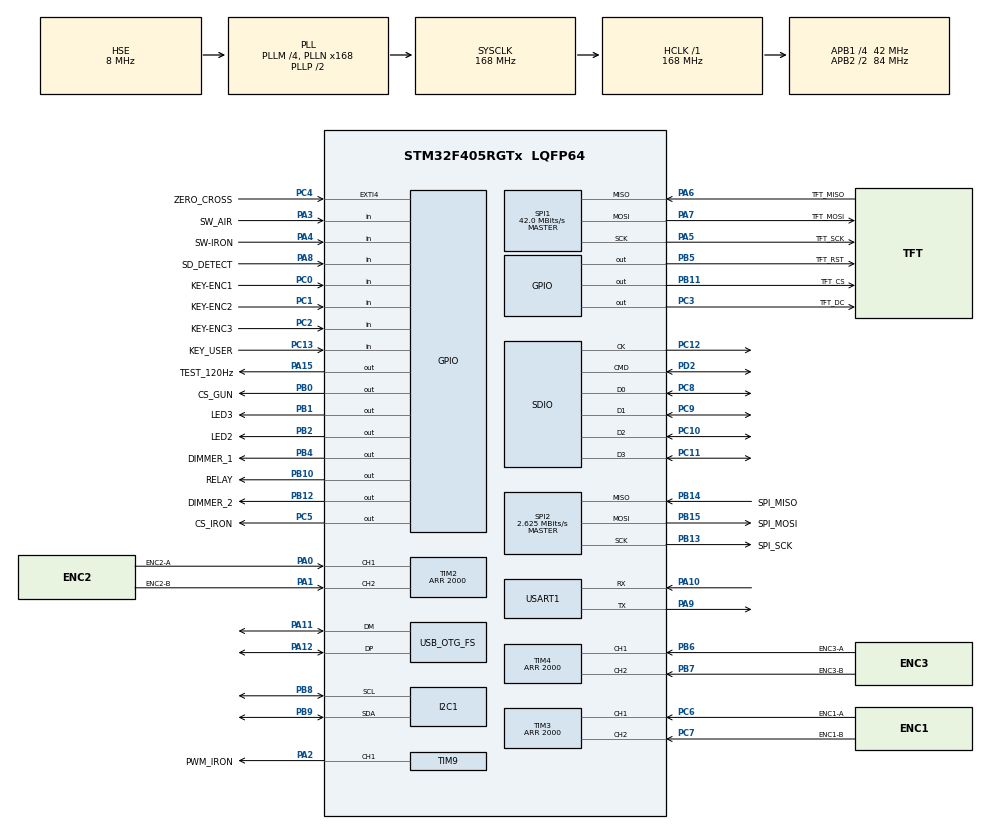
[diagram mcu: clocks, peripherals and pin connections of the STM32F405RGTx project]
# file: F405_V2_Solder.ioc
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ADC1.Channel-0\#ChannelRegularConversion=ADC_CHANNEL_TEMPSENSOR
ADC1.Channel-1\#ChannelRegularConversion=ADC_CHANNEL_VREFINT
ADC1.Channel-2\#ChannelRegularConversion=ADC_CHANNEL_VBAT
ADC1.ContinuousConvMode=ENABLE
ADC1.DMAContinuousRequests=ENABLE
ADC1.NbrOfConversion=3
ADC1.NbrOfConversionFlag=1
ADC1.Rank-0\#ChannelRegularConversion=1
ADC1.Rank-1\#ChannelRegularConversion=2
ADC1.Rank-2\#ChannelRegularConversion=3
ADC1.SamplingTime-0\#ChannelRegularConversion=ADC_SAMPLETIME_144CYCLES
ADC1.SamplingTime-1\#ChannelRegularConversion=ADC_SAMPLETIME_144CYCLES
ADC1.SamplingTime-2\#ChannelRegularConversion=ADC_SAMPLETIME_144CYCLES
ADC1.ScanConvMode=ENABLE
ADC1.master=1
Dma.ADC1.2.Direction=DMA_PERIPH_TO_MEMORY
Dma.ADC1.2.FIFOMode=DMA_FIFOMODE_DISABLE
Dma.ADC1.2.Instance=DMA2_Stream0
Dma.ADC1.2.MemDataAlignment=DMA_MDATAALIGN_HALFWORD
Dma.ADC1.2.MemInc=DMA_MINC_ENABLE
Dma.ADC1.2.Mode=DMA_CIRCULAR
Dma.ADC1.2.PeriphDataAlignment=DMA_PDATAALIGN_HALFWORD
Dma.ADC1.2.PeriphInc=DMA_PINC_DISABLE
Dma.ADC1.2.Priority=DMA_PRIORITY_MEDIUM
Dma.Request0=SPI1_TX
Dma.Request1=SDIO
Dma.Request2=ADC1
Dma.Request3=USART1_TX
Dma.SDIO.1.Direction=DMA_PERIPH_TO_MEMORY
Dma.SDIO.1.FIFOMode=DMA_FIFOMODE_ENABLE
Dma.SDIO.1.FIFOThreshold=DMA_FIFO_THRESHOLD_FULL
Dma.SDIO.1.Instance=DMA2_Stream6
Dma.SDIO.1.MemBurst=DMA_MBURST_INC4
Dma.SDIO.1.MemDataAlignment=DMA_MDATAALIGN_WORD
Dma.SDIO.1.MemInc=DMA_MINC_ENABLE
Dma.SDIO.1.Mode=DMA_PFCTRL
Dma.SDIO.1.PeriphBurst=DMA_PBURST_INC4
Dma.SDIO.1.PeriphDataAlignment=DMA_PDATAALIGN_WORD
Dma.SDIO.1.PeriphInc=DMA_PINC_DISABLE
Dma.SDIO.1.Priority=DMA_PRIORITY_LOW
Dma.SPI1_TX.0.Direction=DMA_MEMORY_TO_PERIPH
Dma.SPI1_TX.0.FIFOMode=DMA_FIFOMODE_DISABLE
Dma.SPI1_TX.0.Instance=DMA2_Stream3
Dma.SPI1_TX.0.MemDataAlignment=DMA_MDATAALIGN_BYTE
Dma.SPI1_TX.0.MemInc=DMA_MINC_ENABLE
Dma.SPI1_TX.0.Mode=DMA_NORMAL
Dma.SPI1_TX.0.PeriphDataAlignment=DMA_PDATAALIGN_BYTE
Dma.SPI1_TX.0.PeriphInc=DMA_PINC_DISABLE
Dma.SPI1_TX.0.Priority=DMA_PRIORITY_LOW
Dma.USART1_TX.3.Direction=DMA_MEMORY_TO_PERIPH
Dma.USART1_TX.3.FIFOMode=DMA_FIFOMODE_DISABLE
Dma.USART1_TX.3.Instance=DMA2_Stream7
Dma.USART1_TX.3.MemDataAlignment=DMA_MDATAALIGN_BYTE
Dma.USART1_TX.3.MemInc=DMA_MINC_ENABLE
Dma.USART1_TX.3.Mode=DMA_NORMAL
Dma.USART1_TX.3.PeriphDataAlignment=DMA_PDATAALIGN_BYTE
Dma.USART1_TX.3.PeriphInc=DMA_PINC_DISABLE
Dma.USART1_TX.3.Priority=DMA_PRIORITY_MEDIUM
FATFS.BSP.number=1
FATFS.USE_DMA_CODE_SD=1
FATFS0.BSP.STBoard=false
FATFS0.BSP.api=Unknown
FATFS0.BSP.instance=PA8
FATFS0.BSP.ip=GPIO
FATFS0.BSP.mode=Input
FATFS0.BSP.name=Detect_SDIO
FATFS0.BSP.solution=PA8
I2C1.I2C_Mode=I2C_Fast
Mcu.Family=STM32F4
Mcu.Name=STM32F405RGTx
Mcu.Package=LQFP64
NVIC.DMA2_Stream0_IRQn=true\:0\:0\:false\:false\:true\:false\:true\:true
NVIC.DMA2_Stream3_IRQn=true\:0\:0\:false\:false\:true\:false\:true\:true
NVIC.DMA2_Stream6_IRQn=true\:0\:0\:false\:false\:true\:false\:true\:true
NVIC.DMA2_Stream7_IRQn=true\:0\:0\:false\:false\:true\:false\:true\:true
NVIC.EXTI4_IRQn=true\:2\:0\:true\:false\:true\:true\:true\:true
NVIC.OTG_FS_IRQn=true\:0\:0\:false\:false\:true\:false\:true\:true
NVIC.PriorityGroup=NVIC_PRIORITYGROUP_4
NVIC.SDIO_IRQn=true\:0\:0\:false\:false\:true\:true\:true\:true
NVIC.SPI1_IRQn=true\:3\:0\:true\:false\:true\:true\:true\:true
NVIC.SPI2_IRQn=true\:0\:0\:false\:false\:true\:true\:true\:true
NVIC.TIM1_UP_TIM10_IRQn=true\:15\:0\:false\:false\:true\:false\:true\:true
NVIC.TIM5_IRQn=true\:0\:0\:false\:false\:true\:true\:true\:true
NVIC.TIM8_BRK_TIM12_IRQn=true\:0\:0\:false\:false\:true\:true\:true\:true
NVIC.TimeBase=TIM1_UP_TIM10_IRQn
NVIC.TimeBaseIP=TIM1
NVIC.USART1_IRQn=true\:1\:0\:true\:false\:true\:true\:true\:true
PA0-WKUP.GPIO_Label=ENC2-A
PA0-WKUP.Signal=S_TIM2_CH1_ETR
PA1.GPIO_Label=ENC2-B
PA1.Signal=S_TIM2_CH2
PA10.Mode=Asynchronous
PA10.Signal=USART1_RX
PA11.Mode=Device_Only
PA11.Signal=USB_OTG_FS_DM
PA12.Mode=Device_Only
PA12.Signal=USB_OTG_FS_DP
PA13.Mode=Trace_Asynchronous_SW
PA13.Signal=SYS_JTMS-SWDIO
PA14.Mode=Trace_Asynchronous_SW
PA14.Signal=SYS_JTCK-SWCLK
PA15.GPIO_Label=TEST_120Hz
PA15.Signal=GPIO_Output
PA2.GPIO_Label=PWM_IRON
PA2.Signal=S_TIM9_CH1
PA3.GPIO_Label=SW_AIR
PA3.Signal=GPIO_Input
PA4.GPIO_Label=SW-IRON
PA4.Signal=GPIO_Input
PA5.GPIO_Label=TFT_SCK
PA5.Mode=Full_Duplex_Master
PA5.Signal=SPI1_SCK
PA6.GPIO_Label=TFT_MISO
PA6.Mode=Full_Duplex_Master
PA6.Signal=SPI1_MISO
PA7.GPIO_Label=TFT_MOSI
PA7.Mode=Full_Duplex_Master
PA7.Signal=SPI1_MOSI
PA8.GPIO_Label=SD_DETECT
PA8.GPIO_PuPd=GPIO_PULLUP
PA8.Signal=GPIO_Input
PA9.Mode=Asynchronous
PA9.Signal=USART1_TX
PB0.GPIO_Label=CS_GUN
PB0.PinState=GPIO_PIN_SET
PB0.Signal=GPIO_Output
PB1.GPIO_Label=LED3
PB1.Signal=GPIO_Output
PB10.GPIO_Label=RELAY
PB10.PinState=GPIO_PIN_SET
PB10.Signal=GPIO_Output
PB11.GPIO_Label=TFT_CS
PB11.PinState=GPIO_PIN_SET
PB11.Signal=GPIO_Output
PB12.GPIO_Label=DIMMER_2
PB12.PinState=GPIO_PIN_SET
PB12.Signal=GPIO_Output
PB13.GPIO_Label=SPI_SCK
PB13.Mode=Full_Duplex_Master
PB13.Signal=SPI2_SCK
PB14.GPIO_Label=SPI_MISO
PB14.Mode=Full_Duplex_Master
PB14.Signal=SPI2_MISO
PB15.GPIO_Label=SPI_MOSI
PB15.Mode=Full_Duplex_Master
PB15.Signal=SPI2_MOSI
PB2.GPIO_Label=LED2
PB2.Signal=GPIO_Output
PB3.Mode=Trace_Asynchronous_SW
PB3.Signal=SYS_JTDO-SWO
PB4.GPIO_Label=DIMMER_1
PB4.PinState=GPIO_PIN_SET
PB4.Signal=GPIO_Output
PB5.GPIO_Label=TFT_RST
PB5.PinState=GPIO_PIN_SET
PB5.Signal=GPIO_Output
PB6.GPIO_Label=ENC3-A
PB6.Signal=S_TIM4_CH1
PB7.GPIO_Label=ENC3-B
PB7.Signal=S_TIM4_CH2
PB8.Mode=I2C
PB8.Signal=I2C1_SCL
PB9.Mode=I2C
PB9.Signal=I2C1_SDA
PC0.GPIO_Label=KEY-ENC1
PC0.Signal=GPIO_Input
PC1.GPIO_Label=KEY-ENC2
PC1.Signal=GPIO_Input
PC10.Mode=SD_4_bits_Wide_bus
PC10.Signal=SDIO_D2
PC11.Mode=SD_4_bits_Wide_bus
PC11.Signal=SDIO_D3
PC12.Mode=SD_4_bits_Wide_bus
PC12.Signal=SDIO_CK
PC13-ANTI_TAMP.GPIO_Label=KEY_USER
PC13-ANTI_TAMP.GPIO_PuPd=GPIO_PULLDOWN
PC13-ANTI_TAMP.Signal=GPIO_Input
PC14-OSC32_IN.Mode=LSE-External-Oscillator
PC14-OSC32_IN.Signal=RCC_OSC32_IN
PC15-OSC32_OUT.Mode=LSE-External-Oscillator
PC15-OSC32_OUT.Signal=RCC_OSC32_OUT
PC2.GPIO_Label=KEY-ENC3
PC2.Signal=GPIO_Input
PC3.GPIO_Label=TFT_DC
PC3.PinState=GPIO_PIN_SET
PC3.Signal=GPIO_Output
PC4.GPIO_Label=ZERO_CROSS
PC4.Signal=GPXTI4
PC5.GPIO_Label=CS_IRON
PC5.PinState=GPIO_PIN_SET
PC5.Signal=GPIO_Output
PC6.GPIO_Label=ENC1-A
PC6.Signal=S_TIM3_CH1
PC7.GPIO_Label=ENC1-B
PC7.Signal=S_TIM3_CH2
PC8.Mode=SD_4_bits_Wide_bus
PC8.Signal=SDIO_D0
PC9.Mode=SD_4_bits_Wide_bus
PC9.Signal=SDIO_D1
PD2.Mode=SD_4_bits_Wide_bus
PD2.Signal=SDIO_CMD
PH0-OSC_IN.Mode=HSE-External-Oscillator
PH0-OSC_IN.Signal=RCC_OSC_IN
PH1-OSC_OUT.Mode=HSE-External-Oscillator
PH1-OSC_OUT.Signal=RCC_OSC_OUT
ProjectManager.HeapSize=0x200
ProjectManager.StackSize=0x400
ProjectManager.TargetToolchain=STM32CubeIDE
RCC.48MHZClocksFreq_Value=48000000
RCC.AHBFreq_Value=168000000
RCC.APB1CLKDivider=RCC_HCLK_DIV4
RCC.APB1Freq_Value=42000000
RCC.APB1TimFreq_Value=84000000
RCC.APB2CLKDivider=RCC_HCLK_DIV2
RCC.APB2Freq_Value=84000000
RCC.APB2TimFreq_Value=168000000
RCC.CortexFreq_Value=168000000
RCC.EnbaleCSS=true
RCC.HCLKFreq_Value=168000000
RCC.HSE_VALUE=8000000
RCC.HSI_VALUE=16000000
RCC.PLLM=4
RCC.PLLN=168
RCC.PLLQ=7
RCC.RCC_RTC_Clock_Source=RCC_RTCCLKSOURCE_LSE
RCC.RCC_RTC_Clock_SourceVirtual=RCC_RTCCLKSOURCE_LSE
RCC.SYSCLKFreq_VALUE=168000000
RCC.SYSCLKSource=RCC_SYSCLKSOURCE_PLLCLK
RCC.VCOOutputFreq_Value=336000000
RTC.Format=RTC_FORMAT_BIN
RTC.Month=RTC_MONTH_NOVEMBER
SH.S_TIM2_CH1_ETR.0=TIM2_CH1,Encoder_Interface
SH.S_TIM2_CH2.0=TIM2_CH2,Encoder_Interface
SH.S_TIM3_CH1.0=TIM3_CH1,Encoder_Interface
SH.S_TIM3_CH2.0=TIM3_CH2,Encoder_Interface
SH.S_TIM4_CH1.0=TIM4_CH1,Encoder_Interface
SH.S_TIM4_CH2.0=TIM4_CH2,Encoder_Interface
SH.S_TIM9_CH1.0=TIM9_CH1,PWM Generation1 CH1
SPI1.BaudRatePrescaler=SPI_BAUDRATEPRESCALER_2
SPI1.CalculateBaudRate=42.0 MBits/s
SPI1.Direction=SPI_DIRECTION_2LINES
SPI1.Mode=SPI_MODE_MASTER
SPI1.VirtualType=VM_MASTER
SPI2.BaudRatePrescaler=SPI_BAUDRATEPRESCALER_16
SPI2.CalculateBaudRate=2.625 MBits/s
SPI2.Direction=SPI_DIRECTION_2LINES
SPI2.Mode=SPI_MODE_MASTER
SPI2.VirtualType=VM_MASTER
STMicroelectronics.X-CUBE-EEPRMA1.4.2.0.EEPROMCcBoardOoPartJjM24JjM24XX=true
TIM12.Period=1000-1
TIM12.Prescaler=700-1
TIM2.EncoderMode=TIM_ENCODERMODE_TI12
TIM2.IC1Filter=8
TIM2.IC1Polarity=TIM_ICPOLARITY_FALLING
TIM2.IC1Prescaler=TIM_ICPSC_DIV2
TIM2.IC2Filter=8
TIM2.IC2Polarity=TIM_ICPOLARITY_FALLING
TIM2.IC2Prescaler=TIM_ICPSC_DIV2
TIM2.Period=2000
TIM3.AutoReloadPreload=TIM_AUTORELOAD_PRELOAD_DISABLE
TIM3.EncoderMode=TIM_ENCODERMODE_TI12
TIM3.IC1Filter=8
TIM3.IC1Polarity=TIM_ICPOLARITY_FALLING
TIM3.IC1Prescaler=TIM_ICPSC_DIV2
TIM3.IC2Filter=8
TIM3.IC2Polarity=TIM_ICPOLARITY_FALLING
TIM3.IC2Prescaler=TIM_ICPSC_DIV2
TIM3.Period=2000
TIM4.EncoderMode=TIM_ENCODERMODE_TI12
TIM4.IC1Filter=8
TIM4.IC1Polarity=TIM_ICPOLARITY_FALLING
TIM4.IC1Prescaler=TIM_ICPSC_DIV2
TIM4.IC2Filter=8
TIM4.IC2Polarity=TIM_ICPOLARITY_FALLING
TIM4.IC2Prescaler=TIM_ICPSC_DIV2
TIM4.Period=2000
TIM5.Period=100-1
TIM5.Prescaler=70-1
TIM9.Channel-PWM\ Generation1\ CH1=TIM_CHANNEL_1
TIM9.OCPolarity_1=TIM_OCPOLARITY_LOW
TIM9.Period=4095
TIM9.Prescaler=16
USART1.VirtualMode=VM_ASYNC
USB_DEVICE.CLASS_NAME_FS=CDC
USB_DEVICE.VirtualMode-CDC_FS=Cdc
USB_DEVICE.VirtualModeFS=Cdc_FS
USB_OTG_FS.VirtualMode=Device_Only
VP_ADC1_TempSens_Input.Mode=IN-TempSens
VP_ADC1_Vbat_Input.Mode=IN-Vbat
VP_ADC1_Vref_Input.Mode=IN-Vrefint
VP_CRC_VS_CRC.Mode=CRC_Activate
VP_FATFS_VS_SDIO.Mode=SDIO
VP_RNG_VS_RNG.Mode=RNG_Activate
VP_RTC_VS_RTC_Activate.Mode=RTC_Enabled
VP_RTC_VS_RTC_Calendar.Mode=RTC_Calendar
VP_STMicroelectronics.X-CUBE-EEPRMA1_VS_BoardOoPartJjEEPROM_4.2.0_4.2.0.Mode=BoardOoPartJjEEPROM
VP_SYS_VS_tim1.Mode=TIM1
VP_TIM12_VS_ClockSourceINT.Mode=Internal
VP_TIM5_VS_ClockSourceINT.Mode=Internal
VP_TIM9_VS_ClockSourceINT.Mode=Internal
VP_USB_DEVICE_VS_USB_DEVICE_CDC_FS.Mode=CDC_FS
board=custom

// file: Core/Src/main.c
/* USER CODE BEGIN Header */
/**
  ******************************************************************************
  * @file           : main.c
  * @brief          : Main program body
  ******************************************************************************
  * @attention
  *
  * Copyright (c) 2023 STMicroelectronics.
  * All rights reserved.
  *
  * This software is licensed under terms that can be found in the LICENSE file
  * in the root directory of this software component.
  * If no LICENSE file comes with this software, it is provided AS-IS.
  *
  ******************************************************************************
  */
/* USER CODE END Header */
#include "main.h"
#include "adc.h"
#include "crc.h"
#include "dma.h"
#include "fatfs.h"
#include "i2c.h"
#include "rng.h"
#include "rtc.h"
#include "sdio.h"
#include "spi.h"
#include "tim.h"
#include "usart.h"
#include "usb_device.h"
#include "gpio.h"

/* USER CODE BEGIN Includes */
#include "string.h"
#include "stdio.h"
#include "../App/key.h"
#include "../App/ILI9341.h"
#include "../App/AT24Cxx.h"
#include "../App/MAX31856.h"
#include "../App/Encoder.h"
#include "../App/log_usb.h"
#include "../lvgl/lvgl.h"
#include "../App/screen.h"
/* USER CODE END Includes */

/* USER CODE BEGIN PTD */
void calculate_calibration(void);
void filter_adc(void);
void Zero_Crossing_Int(void);
/* USER CODE END PTD */

/* USER CODE BEGIN PM */
extern char string_log[];
extern uint16_t EepromID, prg_rev;
/* USER CODE END PM */

/* USER CODE BEGIN PV */
encoder rot1;
encoder rot2;
encoder rot3;
RTC_TimeTypeDef RTC_Time = {0};
RTC_DateTypeDef RTC_Date = {0};

volatile uint8_t uart1_tx_complete = 0;
uint32_t debug_cnt = 0;

volatile uint8_t rx_uart1[512] = { 0 };
uint32_t tx_uart_isr = 0;

GPIO_PinState pin_sw_air;
uint8_t sw_air_low = 0;
uint8_t sw_air_high = 0;
volatile uint8_t sw_air = 0;

GPIO_PinState pin_sw_iron;
uint8_t sw_iron_low = 0;
uint8_t sw_iron_high = 0;
volatile uint8_t sw_iron = 0;

uint16_t adcBuffer[4]; 					// Buffer ADC conversion
uint16_t filter_adc_1[8] = { 0 };
uint16_t filter_adc_2[8] = { 0 };
uint16_t filter_adc_3[8] = { 0 };
uint16_t ADC_temp = 0, ADC_vref = 0, ADC_vbat = 0;
uint16_t pwm_iron = 0;
uint16_t idx_flt = 0;
uint16_t flt_flag = 0;
uint32_t timer_key = 0, timer_lvgl = 0, timer_rtc = 0;
uint32_t timer_lcd = 0, timer_debug = 0, timer_therm = 0;

float temp_iron = 0.0f;
float temp_gun  = 0.0f;
float target_iron, target_air;
uint32_t target_speed = 0;

volatile uint32_t enc1_cnt=0, enc1_last=0, enc1_dir=0, enc1_btn=0;
volatile uint32_t enc2_cnt=0, enc2_last=0, enc2_dir=0, enc2_btn=0;
volatile uint32_t enc3_cnt=0, enc3_last=0, enc3_dir=0, enc3_btn=0;
volatile uint32_t enc1_val=0, enc2_val=0, enc3_val=0;

volatile int NumHandled  = 0;
volatile bool zero_cross = 0;
int NumActiveChannels = NUM_DIMMERS;
volatile bool isHandled[NUM_DIMMERS] = { 0, 0 };
uint32_t dimmer_value[NUM_DIMMERS]   = { 0, 0 };
uint32_t dimmer_Counter[NUM_DIMMERS] = { 0, 0 };
uint32_t dimmer_out[NUM_DIMMERS]     = { 0, 0 };
uint32_t timer_cnt5 = 0;
uint32_t timer_cnt5_max = 0;

float vdda = 0.0f; 		// Result of VDDA calculation
float vref = 0.0f; 		// Result of VREF calculation
float vbat = 0.0f;		// Result of VBAT calculation
float temp_stm, ta, tb; // transfer function using calibration data

static lv_disp_draw_buf_t draw_buf;
static lv_color_t buf1[(ILI9341_SCREEN_WIDTH * 20)] __attribute__((section(".ramtft")));	// Declare a buffer for 1/10 screen size
static lv_color_t buf2[(ILI9341_SCREEN_WIDTH * 20)] __attribute__((section(".ramtft")));
static lv_disp_drv_t disp_drv;        					// Descriptor of a display driver

max31856_t therm_iron = {&hspi2, {CS_IRON_GPIO_Port, CS_IRON_Pin}};
max31856_t therm_gun  = {&hspi2, {CS_GUN_GPIO_Port, CS_GUN_Pin}};
/* USER CODE END PV */

void SystemClock_Config(void);

int main(void)
{

  /* MCU Configuration--------------------------------------------------------*/

  /* Reset of all peripherals, Initializes the Flash interface and the Systick. */
  HAL_Init();

  /* Configure the system clock */
  SystemClock_Config();

  /* Initialize all configured peripherals */
  MX_GPIO_Init();
  MX_DMA_Init();
  MX_I2C1_Init();
  MX_RTC_Init();
  MX_SDIO_SD_Init();
  MX_SPI1_Init();
  MX_SPI2_Init();
  MX_TIM2_Init();
  MX_TIM3_Init();
  MX_TIM4_Init();
  MX_TIM5_Init();
  MX_TIM9_Init();
  MX_USART1_UART_Init();
  MX_ADC1_Init();
  MX_TIM12_Init();
  MX_FATFS_Init();
  MX_CRC_Init();
  MX_RNG_Init();
  MX_USB_DEVICE_Init();
  /* USER CODE BEGIN 2 */
  timer_cnt5 = 0;
  HAL_TIM_Base_Start_IT(&htim5);
  HAL_TIM_Base_Start_IT(&htim12);
  HAL_TIM_Encoder_Start(&htim2, TIM_CHANNEL_ALL);
  HAL_TIM_Encoder_Start(&htim3, TIM_CHANNEL_ALL);
  HAL_TIM_Encoder_Start(&htim4, TIM_CHANNEL_ALL);

  // PWM
  pwm_iron = 80;
  HAL_TIM_PWM_Start(&htim9, TIM_CHANNEL_1);
  __HAL_TIM_SetCompare(&htim9, TIM_CHANNEL_1, pwm_iron);	// PWM_CH1 = 4095 IRON

  // Start ADC
  idx_flt = 0;
  flt_flag = 0;
  calculate_calibration();
  HAL_ADC_Start_DMA(&hadc1, (uint32_t*)adcBuffer, 3);		// Start ADC in DMA

  HAL_UART_Receive_IT(&huart1, (uint8_t *)rx_uart1, 1);

  // Apaga LEDS
  // LED-1 - PWM GUN
  // LED-2 - REPOUSO
  // LED-3 - OPERATE
  // LED-4 - PWM IRON
  HAL_GPIO_WritePin(DIMMER_1_GPIO_Port, DIMMER_1_Pin, GPIO_PIN_SET);
  HAL_GPIO_WritePin(DIMMER_2_GPIO_Port, DIMMER_2_Pin, GPIO_PIN_SET);
  HAL_GPIO_WritePin(RELAY_GPIO_Port,RELAY_Pin, GPIO_PIN_SET);
  HAL_GPIO_WritePin(LED2_GPIO_Port, LED2_Pin, GPIO_PIN_RESET);
  HAL_GPIO_WritePin(LED3_GPIO_Port, LED3_Pin, GPIO_PIN_RESET);

  sprintf(string_log, "\n\r STM32F405 CPU YAXUN v2.0.0 \n\r\n\r");
  LogSerial(string_log);

  HAL_Delay(100);
  sprintf(string_log, "ILI9341 Init....\n\r\n\r");
  LogSerial(string_log);
  ILI9341_Init();
  ILI9341_Set_Address(0, 0, ILI9341_SCREEN_WIDTH-1, ILI9341_SCREEN_HEIGHT-1);
  ILI9341_Set_Rotation(1);
  ILI9341_Fill_Screen(BLACK);

  Evt_InitQueue();
  KeyboardInit(0x01);

  EepromID = 0xFFFF;
  prg_rev = 0xFFFF;
  if(AT24Cxx_IsConnected() == HAL_OK){
	  sprintf(string_log, "EEPROM Present! \n\r");
	  LogSerial(string_log);
  }
  else {
	  sprintf(string_log, "EEPROM Not Connected. \n\r");
	  LogSerial(string_log);
  }
  ReadID_EEPROM();
  if(EepromID != 0x55AA || prg_rev != PRG_REVISION) {
	  sprintf(string_log, "Carrega Prog. Default \n\r");
	  LogSerial(string_log);
	  Save_Default_EEPROM();
  }
  else {
	  sprintf(string_log, "Carrega Prog. EEPROM \n\r");
	  LogSerial(string_log);
	  Read_Config_EEPROM();
  }

  HAL_Delay(100);
  sprintf(string_log, "MAX31856 Init....\n\r\n\r\n\r");
  LogSerial(string_log);

  // Thermocouple Iron
  max31856_init(&therm_iron);
  max31856_set_noise_filter(&therm_iron, CR0_FILTER_OUT_60Hz);
  max31856_set_cold_junction_enable(&therm_iron, CR0_CJ_ENABLED);
  max31856_set_thermocouple_type(&therm_iron, CR1_TC_TYPE_K);
  max31856_set_average_samples(&therm_iron, CR1_AVG_TC_SAMPLES_8);
  max31856_set_open_circuit_fault_detection(&therm_iron, CR0_OC_DETECT_ENABLED_TC_LESS_2ms);
  max31856_set_conversion_mode(&therm_iron, CR0_CONV_CONTINUOUS);
  temp_iron = max31856_read_TC_temp(&therm_iron);

  // Thermocouple GUN
  max31856_init(&therm_gun);
  max31856_set_noise_filter(&therm_gun, CR0_FILTER_OUT_60Hz);
  max31856_set_cold_junction_enable(&therm_gun, CR0_CJ_ENABLED);
  max31856_set_thermocouple_type(&therm_gun, CR1_TC_TYPE_K);
  max31856_set_average_samples(&therm_gun, CR1_AVG_TC_SAMPLES_8);
  max31856_set_open_circuit_fault_detection(&therm_gun, CR0_OC_DETECT_ENABLED_TC_LESS_2ms);
  max31856_set_conversion_mode(&therm_gun, CR0_CONV_CONTINUOUS);
  temp_gun = max31856_read_TC_temp(&therm_gun);

  lv_init();

  lv_disp_draw_buf_init(&draw_buf, buf1, buf2, (ILI9341_SCREEN_WIDTH * 20) );		// Initialize the display buffer.
  lv_disp_drv_init(&disp_drv);          			// Basic initialization

  disp_drv.flush_cb = ILI9341_Flush_IT;   			// Set your driver function
  disp_drv.hor_res  = ILI9341_SCREEN_WIDTH;   		// Set the horizontal resolution of the display
  disp_drv.ver_res  = ILI9341_SCREEN_HEIGHT;   		// Set the vertical resolution of the display

  disp_drv.draw_buf   = &draw_buf;        			// Assign the buffer to the display
  disp_drv.rotated    = LV_DISP_ROT_90;
  disp_drv.sw_rotate  = 1;
  lv_disp_drv_register(&disp_drv);      			// Finally register the driver

  screen_main();
  screen_debug();
  load_screen(0);

  /* USER CODE END 2 */

  /* Infinite loop */
  while (1)
  {

    /* USER CODE BEGIN 3 */
	if(HAL_GetTick() - timer_lvgl > 5) {
		timer_lvgl = HAL_GetTick();
		lv_timer_handler();
	}

	if(HAL_GetTick() - timer_rtc > 1000) {
		timer_rtc = HAL_GetTick();
		HAL_RTC_GetTime(&hrtc, &RTC_Time, RTC_FORMAT_BIN);
		HAL_RTC_GetDate(&hrtc, &RTC_Date, RTC_FORMAT_BIN);
	}

	// Read Encoders
	Read_Encoder();

	// Update Value Dimmer
	dimmer_value[0] = enc1_last / 10;
	dimmer_value[1] = enc2_last / 10;
	pwm_iron = (uint16_t)enc3_last * 4;

	// Buttons Encoders
	KeyboardEvent();

	// Read ADC
	filter_adc();

	if(HAL_GetTick() - timer_therm > 250) {
		timer_therm = HAL_GetTick();
		max31856_read_fault(&therm_iron);
		if (!therm_iron.sr.val) {
			temp_iron = max31856_read_TC_temp(&therm_iron);
		}
		else {
			temp_iron = 999.99f;
		}
		max31856_read_fault(&therm_gun);
		if (!therm_gun.sr.val) {
			temp_gun = max31856_read_TC_temp(&therm_gun);
		}
		else {
			temp_gun = 999.99f;
		}
	}

	// Log Debug
	if(HAL_GetTick() - timer_debug > 1000) {
		timer_debug = HAL_GetTick();
		sprintf(string_log, "ENC1: %04ld [0] %ld ( %ld )  [1] %ld ( %ld ) PWM: %d Idx:%ld \n\r",
			    enc1_last, dimmer_value[0], dimmer_out[0], dimmer_value[1], dimmer_out[1], pwm_iron, tx_uart_isr);
		LogSerial(string_log);
	}
  }
  /* USER CODE END 3 */
}

void SystemClock_Config(void)
{
  RCC_OscInitTypeDef RCC_OscInitStruct = {0};
  RCC_ClkInitTypeDef RCC_ClkInitStruct = {0};

  /** Configure the main internal regulator output voltage
  */
  __HAL_RCC_PWR_CLK_ENABLE();
  __HAL_PWR_VOLTAGESCALING_CONFIG(PWR_REGULATOR_VOLTAGE_SCALE1);

  /** Initializes the RCC Oscillators according to the specified parameters
  * in the RCC_OscInitTypeDef structure.
  */
  RCC_OscInitStruct.OscillatorType = RCC_OSCILLATORTYPE_HSE|RCC_OSCILLATORTYPE_LSE;
  RCC_OscInitStruct.HSEState = RCC_HSE_ON;
  RCC_OscInitStruct.LSEState = RCC_LSE_ON;
  RCC_OscInitStruct.PLL.PLLState = RCC_PLL_ON;
  RCC_OscInitStruct.PLL.PLLSource = RCC_PLLSOURCE_HSE;
  RCC_OscInitStruct.PLL.PLLM = 4;
  RCC_OscInitStruct.PLL.PLLN = 168;
  RCC_OscInitStruct.PLL.PLLP = RCC_PLLP_DIV2;
  RCC_OscInitStruct.PLL.PLLQ = 7;
  if (HAL_RCC_OscConfig(&RCC_OscInitStruct) != HAL_OK)
  {
    Error_Handler();
  }

  /** Initializes the CPU, AHB and APB buses clocks
  */
  RCC_ClkInitStruct.ClockType = RCC_CLOCKTYPE_HCLK|RCC_CLOCKTYPE_SYSCLK
                              |RCC_CLOCKTYPE_PCLK1|RCC_CLOCKTYPE_PCLK2;
  RCC_ClkInitStruct.SYSCLKSource = RCC_SYSCLKSOURCE_PLLCLK;
  RCC_ClkInitStruct.AHBCLKDivider = RCC_SYSCLK_DIV1;
  RCC_ClkInitStruct.APB1CLKDivider = RCC_HCLK_DIV4;
  RCC_ClkInitStruct.APB2CLKDivider = RCC_HCLK_DIV2;

  if (HAL_RCC_ClockConfig(&RCC_ClkInitStruct, FLASH_LATENCY_5) != HAL_OK)
  {
    Error_Handler();
  }

  /** Enables the Clock Security System
  */
  HAL_RCC_EnableCSS();
}

/* USER CODE BEGIN 4 */
void HAL_SPI_TxCpltCallback(SPI_HandleTypeDef *hspi)
{
	if(hspi->Instance == SPI1) {
		ILI9341_End_Flush(&disp_drv);
		timer_lcd = HAL_GetTick() - timer_lcd;
	}
}

void HAL_ADC_ConvCpltCallback(ADC_HandleTypeDef* hadc)
{
	filter_adc_1[idx_flt] = (uint32_t)adcBuffer[0];
	filter_adc_2[idx_flt] = (uint32_t)adcBuffer[1];
	filter_adc_3[idx_flt] = (uint32_t)adcBuffer[2];
	idx_flt++;
	if(idx_flt >= 8) {
		idx_flt = 0;
		flt_flag = 1;
	}
}

void filter_adc(void)
{
	if(flt_flag == 1) {
        ADC_temp = ( ( filter_adc_1[0]+filter_adc_1[1]+filter_adc_1[2]+filter_adc_1[3]+filter_adc_1[4]+filter_adc_1[5]+filter_adc_1[6]+filter_adc_1[7] ) / 8 );
		ADC_vref = ( ( filter_adc_2[0]+filter_adc_2[1]+filter_adc_2[2]+filter_adc_2[3]+filter_adc_2[4]+filter_adc_2[5]+filter_adc_2[6]+filter_adc_2[7] ) / 8 );
        ADC_vbat = ( ( filter_adc_3[0]+filter_adc_3[1]+filter_adc_3[2]+filter_adc_3[3]+filter_adc_3[4]+filter_adc_3[5]+filter_adc_3[6]+filter_adc_3[7] ) / 8 );

		// VDDA can be calculated based on the measured vref and the calibration data
	    vdda = (float)VREFINT_CAL_VREF * (float)*VREFINT_CAL_ADDR / ADC_vref;

	    // Knowing vdda and the resolution of adc - the actual voltage can be calculated
	    vref = (float) vdda / 4095 * ADC_vref;

	    //
	    vbat = (float)VREFINT_CAL_VREF * (float)*VREFINT_CAL_ADDR / ADC_vbat;

	    temp_stm = (float) (ta * (float) (ADC_temp) + tb);
		flt_flag = 0;
	}
}

void calculate_calibration(void)
{
    float x1 = (float) *TEMPSENSOR_CAL1_ADDR;
    float x2 = (float) *TEMPSENSOR_CAL2_ADDR;
    float y1 = (float) TEMPSENSOR_CAL1_TEMP;
    float y2 = (float) TEMPSENSOR_CAL2_TEMP;

    // Simple linear equation y = ax + b based on two points
    ta = (float) ((y2 - y1) / (x2 - x1));
    tb = (float) ((x2 * y1 - x1 * y2) / (x2 - x1));
}

void debounce_input(void)
{
	// Debounce SW_AIR PIN
	pin_sw_air = HAL_GPIO_ReadPin(SW_AIR_GPIO_Port, SW_AIR_Pin);
	if(pin_sw_air == 0) {
		sw_air_low++;
		sw_air_high = 0;
		if(sw_air_low >= DEBOUNCE_SW) {
			sw_air_low = DEBOUNCE_SW + 1;
			sw_air = 0;
		}
	}
	else {
		sw_air_high++;
		sw_air_low = 0;
		if(sw_air_high >= DEBOUNCE_SW) {
			sw_air_high = DEBOUNCE_SW + 1;
			sw_air = 1;
		}
	}
	//
	// Debounce SW_IRON PIN
	pin_sw_iron = HAL_GPIO_ReadPin(SW_AIR_GPIO_Port, SW_AIR_Pin);
	if(pin_sw_iron == 0) {
		sw_iron_low++;
		sw_iron_high = 0;
		if(sw_iron_low >= DEBOUNCE_SW) {
			sw_iron_low = DEBOUNCE_SW + 1;
			sw_iron = 0;
		}
	}
	else {
		sw_iron_high++;
		sw_iron_low = 0;
		if(sw_iron_high >= DEBOUNCE_SW) {
			sw_iron_high = DEBOUNCE_SW + 1;
			sw_iron = 1;
		}
	}
}

// handles EXTI line3 interrupt
void HAL_GPIO_EXTI_Callback(uint16_t GPIO_Pin)
{
    if(GPIO_Pin == ZERO_CROSS_Pin)
    {
		HAL_NVIC_DisableIRQ(EXTI4_IRQn);
		Zero_Crossing_Int();
		HAL_NVIC_EnableIRQ(EXTI4_IRQn);
    }
}

void Zero_Crossing_Int(void)
{
	NumHandled = 0;

	isHandled[0] = 0;
	isHandled[1] = 0;
	timer_cnt5_max = timer_cnt5;
	timer_cnt5 = 0;
	zero_cross = 1;
	dimmer_Counter[0] = 0;
	dimmer_Counter[1] = 0;
	HAL_GPIO_WritePin(DIMMER_1_GPIO_Port, DIMMER_1_Pin, GPIO_PIN_SET);
	HAL_GPIO_WritePin(DIMMER_2_GPIO_Port, DIMMER_2_Pin, GPIO_PIN_SET);
}

void dimmerTimerISR(void)
{
	if(zero_cross == 1) {
		for(int i = 0; i < NUM_DIMMERS; i++) {
			if( dimmer_Counter[i] >= (DIMMER_VALUE_MAX - dimmer_value[i]) ) {
				dimmer_out[i] = DIMMER_VALUE_MAX - dimmer_value[i];
				if(i == 0){
					HAL_GPIO_WritePin(DIMMER_1_GPIO_Port, DIMMER_1_Pin, GPIO_PIN_RESET);
				}else if(i  == 1){
					HAL_GPIO_WritePin(DIMMER_2_GPIO_Port, DIMMER_2_Pin, GPIO_PIN_RESET);
				}
				isHandled[i] = 1;
				NumHandled++;
				if(NumHandled == NumActiveChannels) {
					zero_cross = 0;
				}
			}
			else if(isHandled[i] == 0) {
				dimmer_Counter[i]++;
			}
		}
	}
}

void HAL_UART_TxCpltCallback(UART_HandleTypeDef *huart)
{
	if(huart->Instance==USART1) {
		tx_uart_isr++;
		uart1_tx_complete = 1;
	}
}
/* USER CODE END 4 */

void HAL_TIM_PeriodElapsedCallback(TIM_HandleTypeDef *htim)
{
  if (htim->Instance == TIM1) {
    HAL_IncTick();
  }
  /* USER CODE BEGIN Callback 1 */
  if (htim->Instance == TIM1) {
	  debounce_input();
	  lv_tick_inc(1);
	  timer_key++;
	  if(timer_key >= PUSHBTN_TMR_PERIOD) {
		  timer_key = 0;
		  Key_Read();
	  }
  }
  // Timer Dimmer 12Khz
  if(htim->Instance == TIM5) {			// 12Khz - 84us
	  timer_cnt5++;
  	  dimmerTimerISR();
  }
  // Timer Teste Zero Cross 120Hz
  if(htim->Instance == TIM12) {			// 120Hz - 8.33ms
	  HAL_GPIO_WritePin(TEST_120Hz_GPIO_Port, TEST_120Hz_Pin, GPIO_PIN_SET);
  	  for(uint16_t u = 0; u < 800; u++) {
  		  __NOP();
  	  }
  	  HAL_GPIO_WritePin(TEST_120Hz_GPIO_Port, TEST_120Hz_Pin, GPIO_PIN_RESET);
  }
  /* USER CODE END Callback 1 */
}

void Error_Handler(void)
{
  __disable_irq();
  while (1)
  {
  }
}
